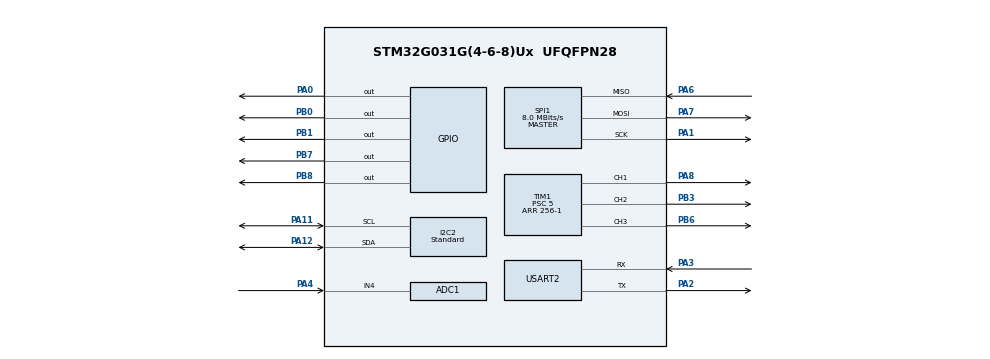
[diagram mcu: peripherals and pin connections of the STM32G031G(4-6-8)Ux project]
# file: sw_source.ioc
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ADC1.Channel-0\#ChannelRegularConversion=ADC_CHANNEL_4
ADC1.ExternalTrigConv=ADC_EXTERNALTRIG_T1_TRGO2
ADC1.LowPowerAutoWait=DISABLE
ADC1.NbrOfConversionFlag=1
ADC1.Rank-0\#ChannelRegularConversion=1
ADC1.SamplingTime-0\#ChannelRegularConversion=ADC_SAMPLINGTIME_COMMON_1
ADC1.SelectedChannel=ADC_CHANNEL_4
ADC1.master=1
Dma.ADC1.1.Direction=DMA_PERIPH_TO_MEMORY
Dma.ADC1.1.EventEnable=DISABLE
Dma.ADC1.1.Instance=DMA1_Channel3
Dma.ADC1.1.MemDataAlignment=DMA_MDATAALIGN_WORD
Dma.ADC1.1.MemInc=DMA_MINC_DISABLE
Dma.ADC1.1.Mode=DMA_NORMAL
Dma.ADC1.1.PeriphDataAlignment=DMA_PDATAALIGN_WORD
Dma.ADC1.1.PeriphInc=DMA_PINC_DISABLE
Dma.ADC1.1.Polarity=HAL_DMAMUX_REQ_GEN_RISING
Dma.ADC1.1.Priority=DMA_PRIORITY_VERY_HIGH
Dma.ADC1.1.RequestNumber=1
Dma.ADC1.1.SignalID=NONE
Dma.ADC1.1.SyncEnable=DISABLE
Dma.ADC1.1.SyncPolarity=HAL_DMAMUX_SYNC_NO_EVENT
Dma.ADC1.1.SyncRequestNumber=1
Dma.ADC1.1.SyncSignalID=NONE
Dma.Request0=USART2_TX
Dma.Request1=ADC1
Dma.USART2_TX.0.Direction=DMA_MEMORY_TO_PERIPH
Dma.USART2_TX.0.EventEnable=DISABLE
Dma.USART2_TX.0.Instance=DMA1_Channel2
Dma.USART2_TX.0.MemDataAlignment=DMA_MDATAALIGN_BYTE
Dma.USART2_TX.0.MemInc=DMA_MINC_ENABLE
Dma.USART2_TX.0.Mode=DMA_NORMAL
Dma.USART2_TX.0.PeriphDataAlignment=DMA_PDATAALIGN_BYTE
Dma.USART2_TX.0.PeriphInc=DMA_PINC_DISABLE
Dma.USART2_TX.0.Polarity=HAL_DMAMUX_REQ_GEN_RISING
Dma.USART2_TX.0.Priority=DMA_PRIORITY_VERY_HIGH
Dma.USART2_TX.0.RequestNumber=1
Dma.USART2_TX.0.SignalID=NONE
Dma.USART2_TX.0.SyncEnable=DISABLE
Dma.USART2_TX.0.SyncPolarity=HAL_DMAMUX_SYNC_NO_EVENT
Dma.USART2_TX.0.SyncRequestNumber=1
Dma.USART2_TX.0.SyncSignalID=NONE
I2C2.I2C_Speed_Mode=I2C_Standard
I2C2.Speed=10
I2C2.Timing=0xE010A9FF
Mcu.Family=STM32G0
Mcu.Name=STM32G031G(4-6-8)Ux
Mcu.Package=UFQFPN28
NVIC.DMA1_Channel2_3_IRQn=true\:0\:0\:false\:false\:true\:false\:true
NVIC.TIM14_IRQn=true\:0\:0\:false\:false\:true\:true\:true
NVIC.TIM3_IRQn=true\:1\:0\:true\:false\:true\:true\:true
NVIC.USART2_IRQn=true\:0\:0\:false\:false\:true\:true\:true
PA0.Signal=GPIO_Output
PA1.GPIO_Speed=GPIO_SPEED_FREQ_VERY_HIGH
PA1.Mode=Full_Duplex_Master
PA1.Signal=SPI1_SCK
PA11\ [PA9].Mode=I2C
PA11\ [PA9].Signal=I2C2_SCL
PA12\ [PA10].Mode=I2C
PA12\ [PA10].Signal=I2C2_SDA
PA13.Mode=Serial_Wire
PA13.Signal=SYS_SWDIO
PA14-BOOT0.Mode=Serial_Wire
PA14-BOOT0.Signal=SYS_SWCLK
PA2.Mode=Asynchronous
PA2.Signal=USART2_TX
PA3.Mode=Asynchronous
PA3.Signal=USART2_RX
PA4.Mode=IN4
PA4.Signal=ADC1_IN4
PA6.GPIO_Speed=GPIO_SPEED_FREQ_VERY_HIGH
PA6.Mode=Full_Duplex_Master
PA6.Signal=SPI1_MISO
PA7.GPIO_Speed=GPIO_SPEED_FREQ_VERY_HIGH
PA7.Mode=Full_Duplex_Master
PA7.Signal=SPI1_MOSI
PA8.Signal=S_TIM1_CH1
PB0.Signal=GPIO_Output
PB1.Signal=GPIO_Output
PB3.Signal=S_TIM1_CH2
PB6.Signal=S_TIM1_CH3
PB7.Signal=GPIO_Output
PB8.Signal=GPIO_Output
ProjectManager.HeapSize=0x800
ProjectManager.StackSize=0x800
ProjectManager.TargetToolchain=MDK-ARM V5.32
RCC.ADCFreq_Value=64000000
RCC.AHBFreq_Value=64000000
RCC.CortexFreq_Value=64000000
RCC.EXTERNAL_CLOCK_VALUE=12288000
RCC.HCLKFreq_Value=64000000
RCC.HSE_VALUE=8000000
RCC.HSI_VALUE=16000000
RCC.LSE_VALUE=32768
RCC.SYSCLKFreq_VALUE=64000000
RCC.SYSCLKSource=RCC_SYSCLKSOURCE_PLLCLK
RCC.VCOOutputFreq_Value=128000000
SH.S_TIM1_CH1.0=TIM1_CH1,PWM Generation1 CH1
SH.S_TIM1_CH2.0=TIM1_CH2,PWM Generation2 CH2
SH.S_TIM1_CH3.0=TIM1_CH3,PWM Generation3 CH3
SPI1.BaudRatePrescaler=SPI_BAUDRATEPRESCALER_8
SPI1.CLKPhase=SPI_PHASE_2EDGE
SPI1.CalculateBaudRate=8.0 MBits/s
SPI1.DataSize=SPI_DATASIZE_16BIT
SPI1.Direction=SPI_DIRECTION_2LINES
SPI1.Mode=SPI_MODE_MASTER
SPI1.VirtualType=VM_MASTER
TIM1.AutoReloadPreload=TIM_AUTORELOAD_PRELOAD_ENABLE
TIM1.Channel-PWM\ Generation1\ CH1=TIM_CHANNEL_1
TIM1.Channel-PWM\ Generation2\ CH2=TIM_CHANNEL_2
TIM1.Channel-PWM\ Generation3\ CH3=TIM_CHANNEL_3
TIM1.CounterMode=TIM_COUNTERMODE_CENTERALIGNED1
TIM1.Period=256-1
TIM1.Prescaler=5
TIM1.TIM_MasterOutputTrigger=TIM_TRGO_RESET
TIM1.TIM_MasterOutputTrigger2=TIM_TRGO2_OC1REF
TIM14.AutoReloadPreload=TIM_AUTORELOAD_PRELOAD_ENABLE
TIM14.Period=1000
TIM14.Prescaler=63
TIM3.AutoReloadPreload=TIM_AUTORELOAD_PRELOAD_ENABLE
TIM3.Period=100-1
TIM3.Prescaler=64
TIM3.TIM_MasterOutputTrigger=TIM_TRGO_UPDATE
USART2.DMADisableonRxErrorParam=ADVFEATURE_DMA_DISABLEONRXERROR
USART2.VirtualMode-Asynchronous=VM_ASYNC
VP_TIM14_VS_ClockSourceINT.Mode=Enable_Timer
VP_TIM1_VS_ClockSourceINT.Mode=Internal
VP_TIM3_VS_ClockSourceINT.Mode=Internal
board=custom

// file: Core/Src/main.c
/* USER CODE BEGIN Header */
/**
  ******************************************************************************
  * @file           : main.c
  * @brief          : Main program body
  ******************************************************************************
  * @attention
  *
  * <h2><center>&copy; Copyright (c) 2021 STMicroelectronics.
  * All rights reserved.</center></h2>
  *
  * This software component is licensed by ST under BSD 3-Clause license,
  * the "License"; You may not use this file except in compliance with the
  * License. You may obtain a copy of the License at:
  *                        opensource.org/licenses/BSD-3-Clause
  *
  ******************************************************************************
  */
/* USER CODE END Header */
#include "main.h"
#include "adc.h"
#include "dma.h"
#include "i2c.h"
#include "spi.h"
#include "tim.h"
#include "usart.h"
#include "gpio.h"

/* USER CODE BEGIN Includes */
#include "user_define.h"
#include "difficultyFoc.h"
#include "magneticSensor.h"
#include <stdio.h>
#include <stdarg.h>
#include <math.h>
#include "userTimer.h"
#include "user_serial.h"
#include "setupInf.h"

/* USER CODE END Includes */

void SystemClock_Config(void);
/* USER CODE BEGIN PFP */

extern serial_t serial;
extern motor_t motor;
extern magnetic_sensor_t tle5012;
extern setupinf_t setup;

/* USER CODE END PFP */

/* USER CODE BEGIN 0 */

int fputc(int c, FILE *stream)
{
	LL_USART_TransmitData8(USART2,c);
	while(!LL_USART_IsActiveFlag_TXE(USART2));
	return 1;
}

typedef struct pid_controller
{
	float p;
	float i;
	float d;

	float error_prev;
	float output_prev;
	float integral_prev;
	float output_rmap;
	uint64_t time_prve;

	float limit_up;
	float limit_down;
} pid_controller_t;

typedef struct FO_filter
{
	float lase;
	float alpha;
	float _alpha_n;
} FO_filter_t;

typedef struct system
{
	system_state_t state;

    float motor_p;
    float error;
    float target;

	float angle_now;
	float velocity_now;
	float elecangle_now;

	pid_controller_t velocity_pid;
	pid_controller_t angle_pid;
	pid_controller_t current_pid;

	float* used_parm;
	pid_controller_t* used_pid;

	//************************
	int8_t setupstate;

} system_t;

system_t sys;

#define DECLARE_FO_FILTER(name, alpha) FO_filter_t name = {0, alpha, (1 - alpha)}

DECLARE_FO_FILTER(angle_filter, 0.8f);
DECLARE_FO_FILTER(velocity_filter, 0.8f);

void initFOFilter(FO_filter_t *p, float alpha)
{
	p->lase = 0;
	p->alpha = alpha;
	p->_alpha_n = 1 - alpha;
}
float FOFilter(FO_filter_t *p, float data)
{
	p->lase = (data * p->alpha + (p->_alpha_n) * p->lase);
	return p->lase;
}

void PIDInit(pid_controller_t *parm)
{
	if (parm == NULL)
		return;
	parm->p = 1;
	parm->i = 0;
	parm->d = 0;

	parm->error_prev = 0;
	parm->output_prev = 0;
	parm->integral_prev = 0;

	parm->limit_up = FLT_MAX;
	parm->limit_down = FLT_MIN;
}

void PIDInitWithParm(pid_controller_t *parm, float _p, float _i, float _d,float _up, float _down, float _remap)
{
	if (parm == NULL)
		return;
	parm->p = _p;
	parm->i = _i;
	parm->d = _d;

	parm->limit_up = _up;
	parm->limit_down = _down;
	parm->output_rmap = _remap;

	parm->error_prev = 0;
	parm->output_prev = 0;
	parm->integral_prev = 0;
	parm->output_rmap = 0;
	parm->time_prve = sys_ticks.micros();
}

void PIDSetLimit(pid_controller_t *parm, float _up, float _down, float _remap)
{
	parm->limit_up = _up;
	parm->limit_down = _down;
	parm->output_rmap = _remap;
}

void PIDSetParm(pid_controller_t *parm, float _p, float _i, float _d)
{
	if (parm == NULL)
		return;

	parm->p = _p;
	parm->i = _i;
	parm->d = _d;
}

float PIDOperate(pid_controller_t *parm, float error)
{
	uint64_t time = sys_ticks.micros();
	float deltaTs = ( time - parm->time_prve ) * 1e-6;
	if(( deltaTs <= 0.0f )||( deltaTs > 0.5f )) deltaTs = 0.001;

	float proportional = parm->p * error;
	float integral = parm->integral_prev + parm->i * deltaTs * 0.5f *(error + parm->error_prev);
	integral = _CONSTRAIN(integral, parm->limit_down, parm->limit_up);

	float derivative = parm->d * (error - parm->error_prev) / deltaTs;
	float output = proportional + integral + derivative;

	output = _CONSTRAIN(output, parm->limit_down, parm->limit_up);

	if( parm->output_rmap > 0 )
	{
        float output_rate = (output - parm-> output_prev) / deltaTs;
        if (output_rate > parm->output_rmap)
            output = parm->output_prev + parm->output_rmap * deltaTs;
        else if (output_rate < -parm->output_rmap)
            output = parm->output_prev - parm->output_rmap * deltaTs;
	}

	parm->error_prev = error;
	parm->integral_prev = integral;
	parm->output_prev = output;
	parm->time_prve = time;

	return output;
}

uint32_t adc_val_dma[10];

void configADCDMA()
{
	LL_DMA_SetChannelPriorityLevel(DMA1, LL_DMA_CHANNEL_3, LL_DMA_PRIORITY_HIGH);
	LL_DMA_SetMemoryAddress(DMA1, LL_DMA_CHANNEL_3,(uint32_t)adc_val_dma);
	LL_DMA_SetPeriphAddress(DMA1, LL_DMA_CHANNEL_3,LL_ADC_DMA_GetRegAddr(ADC1,LL_ADC_DMA_REG_REGULAR_DATA));
	LL_DMA_SetDataLength(DMA1, LL_DMA_CHANNEL_3, 1);
	LL_DMA_EnableIT_TC(DMA1, LL_DMA_CHANNEL_3);
	LL_DMA_EnableChannel(DMA1, LL_DMA_CHANNEL_3);
	LL_ADC_REG_SetDMATransfer(ADC1, LL_ADC_REG_DMA_TRANSFER_UNLIMITED);

	LL_ADC_Enable(ADC1);
	while(LL_ADC_IsActiveFlag_ADRDY(ADC1) != SET);
	LL_ADC_REG_StartConversion(ADC1);
}

void readADC()
{
	//adc_val_dma[0] = HAL_ADC_GetValue(&hadc1);

	printf("adc value is %d \r\n", adc_val_dma[0]);
}

uint8_t inRangeF(float value, float down, float up)
{
	return ((value >= down) && (value <= up)) ? 1 : 0;
}

void sendMotorParm(float sensorAngle,float velocity,uint32_t current)
{
	volatile uint32_t sendbuff[3] = {
		*(uint32_t*)&sensorAngle,
		*(uint32_t*)&velocity,
		*(uint32_t*)&current,
	};
	serial.sendPack(0xff,0x11,sizeof(sendbuff),(void*)sendbuff);
}

void sendDebugMessage(const char *format, ...)
{
	char str_buff[256];
	va_list ap;
	va_start(ap,format);
	int length = vsprintf(str_buff,format,ap);
	serial.sendPack(0xff,0x31,length,(void*)str_buff);
	va_end(ap);
}

float parm2Angle(uint8_t *p)
{
	volatile uint8_t databuff_0[8];//0x20000CB4
	memcpy((uint8_t*)databuff_0,(uint8_t*)p,sizeof(uint8_t)*8);
	volatile int32_t circle = *(int32_t*)&databuff_0[0]; // 0x00000000
	volatile int32_t angle = *(int32_t*)&databuff_0[4];  // 0x200003CC
	volatile float anglef = *(float*)&angle;
	return (float)circle * _2PI + anglef;
}

float parm2Velocity(uint8_t *p)
{
	return *(float*)&p[0];
}

void serialReceive()
{
	if(serial.isAvailable() > 0 )
	{
		uint8_t flag = 0;
		uint8_t mode_change_flag = 0;
		uint8_t id = serial.revice_pack.id;
		switch( serial.revice_pack.cmd )
		{
			case CMD_SET_IDLE :
				sys.state = STATE_IDLE;
				sys.target = 0.0f;
				sys.used_pid = &sys.angle_pid;
				sys.used_parm = &sys.angle_now;
				mode_change_flag = 1;
				break;
			case CMD_SET_VELOCITY :
				sys.state = STATE_VELOCITY;
				sys.target = parm2Velocity(&serial.revice_pack.data[0]);
				sys.used_pid = &sys.velocity_pid;
				sys.used_parm = &sys.velocity_now;
				mode_change_flag = 1;
				break;
			case CMD_SET_ANGLE :
				sys.state = STATE_ANGLE;
				sys.target = parm2Angle(&serial.revice_pack.data[0]);
				sys.used_pid = &sys.angle_pid;
				sys.used_parm = &sys.angle_now;
				mode_change_flag = 1;
				break;
		}
		serial.sendPack(id,0x00,1,&flag);
		serial.clearRDFlag();

		if( mode_change_flag == 1 )
		{
			sys.error = 0.0f;
			sys.motor_p = 0.0f;
		}
	}
}

DECLARE_FO_FILTER(angle_LPF,0.9);
DECLARE_FO_FILTER(velocity_LPF,0.2);

void testEEPROM()
{
	uint8_t read_buff[10];
	HAL_I2C_Mem_Write(&hi2c2, 0x00a0, 0, I2C_MEMADD_SIZE_8BIT, "Fuck stc", 8, 100);
	HAL_Delay(10);
	memset(read_buff, '\0', sizeof(read_buff));
	HAL_I2C_Mem_Read(&hi2c2, 0x00a1, 0, I2C_MEMADD_SIZE_8BIT, read_buff, 8, 100);
	serial.printf("[FOC] Read from EEPROM is %s\r\n", read_buff);
}

/* USER CODE END 0 */

int main(void)
{

  /* MCU Configuration--------------------------------------------------------*/

  /* Reset of all peripherals, Initializes the Flash interface and the Systick. */
  HAL_Init();

  /* Configure the system clock */
  	SystemClock_Config();

  /* Initialize all configured peripherals */
	MX_GPIO_Init();
	MX_DMA_Init();
	MX_SPI1_Init();
	MX_TIM1_Init();
	MX_USART2_UART_Init();
	MX_TIM3_Init();
	MX_TIM14_Init();
	MX_ADC1_Init();
	MX_I2C2_Init();
  /* USER CODE BEGIN 2 */

	LL_GPIO_SetOutputPin(GPIOB,LL_GPIO_PIN_0);
	LL_GPIO_SetOutputPin(GPIOB,LL_GPIO_PIN_1);

	TIM1->CCR1 = 127;
	TIM1->CCR2 = 127;
	TIM1->CCR3 = 127;

	LL_TIM_CC_EnableChannel(TIM1,LL_TIM_CHANNEL_CH1);
	LL_TIM_CC_EnableChannel(TIM1,LL_TIM_CHANNEL_CH2);
	LL_TIM_CC_EnableChannel(TIM1,LL_TIM_CHANNEL_CH3);
    LL_TIM_EnableCounter(TIM1);
    LL_TIM_EnableAllOutputs(TIM1);

	LL_SPI_Enable(SPI1);
	initTicks(TIM14);

	LL_TIM_EnableIT_UPDATE(TIM14);
	LL_TIM_EnableCounter(TIM14);

	InitTransmission(USART2);
	initSetupInfo();
	initSensor(&tle5012);

	//configADCDMA();
	//testEEPROM();
	//HAL_ADC_Start(&hadc1);
	//HAL_ADC_Start_DMA(&hadc1, &adc_val_dma[0], 1);

	motor.voltage_dc = 12.0;
	motor.voltage_limit = 10.0;
	DifficultyFOCInit(&motor);

	PIDInitWithParm(&sys.velocity_pid, 	0.09f, 1.0f, 0.0f, 5.0f, -5.0f, 1000.0f);
	PIDInitWithParm(&sys.angle_pid, 	5.0f,  0.0f, 0.0f, 5.0f, -5.0f, 0.0f);
	PIDInitWithParm(&sys.current_pid, 	1.0f,  0.0f, 0.0f, 5.0f, -5.0f, 0.0f);

	LL_mDelay(100);

	sys.setupstate = setup.readFromE2prom();
	if( sys.setupstate != 0 )
	{
		if( sys.setupstate == -1 )
			serial.printf("[FOC] read eeprom fault\r\n");

		serial.printf("[FOC] Start time %lld\r\n", sys_ticks.micros());
		DiffcultyFOCAlignSendor(&motor, &tle5012);
		serial.printf("[FOC] End time %lld\r\n",sys_ticks.micros());
		if( sys.setupstate == -2 )
		{
			setup.data.zero_elec_angle = motor.zero_elec_angle;
			setup.writeToE2prom();
		}
	}
	else
	{
		serial.printf("[FOC] zero elec Angle = %.2f\r\n", _R2D(setup.data.zero_elec_angle));
		serial.printf("[FOC] zero offset %.2f\r\n", _R2D(setup.data.zero_offset));
		motor.zero_elec_angle = setup.data.zero_elec_angle;
		motor.sensor_dir = kSensorCW;

		tle5012.angle_offset = _D2R(60);
	}

	updataSensor(&tle5012);
	angle_LPF.lase = getAngle(&tle5012);
	velocity_LPF.lase = getVelocity(&tle5012);

	sys.error = 0.0f;
	sys.state = STATE_IDLE;
	sys.target = 0.0f;
	sys.motor_p = 0.0f;

	sys.angle_now = getAngle(&tle5012);
	sys.velocity_now = getVelocity(&tle5012);

	sys.used_pid = &sys.angle_pid;
	sys.used_parm = &sys.angle_now;

	sys.elecangle_now = getElectricaAngle(&motor, &tle5012);
	DifficultySeting(sys.motor_p, 0.0f, sys.elecangle_now, &motor);
	setTimerPWMVal(&motor);

	sendMotorParm(1.25f,2.54f,0.0f);
  /* USER CODE END 2 */

  /* Infinite loop */
	while (1)
	{

    /* USER CODE BEGIN 3 */
		updataSensor(&tle5012);

		sys.angle_now = FOFilter(&angle_LPF,getAngle(&tle5012));
		sys.velocity_now = FOFilter(&velocity_LPF,getVelocity(&tle5012));

		if( sys.state != STATE_IDLE )
		{
			sys.error = sys.target - *sys.used_parm;
			sys.motor_p = PIDOperate(sys.used_pid, sys.error);
			sys.elecangle_now = getElectricaAngle(&motor, &tle5012);
			DifficultySeting(sys.motor_p, 0.0f, sys.elecangle_now, &motor);
			setTimerPWMVal(&motor);
		}
		else
		{
			DifficultySeting(0.0f, 0.0f, sys.elecangle_now, &motor);
			setTimerPWMVal(&motor);
		}
		//getanglespeed(&tle5012);

		serialReceive();
		sendMotorParm(sys.angle_now,sys.velocity_now,tle5012.vel_sendor);

		/*
		velocity_error = ( velocity_target - velocity_af );
		motor_p = PIDOperate(&global_pid, velocity_error);
		motor_p = _CONSTRAIN(motor_p, -5.0f, 5.0f);
		electrical_angle = getElectricaAngle(&motor, &tle5012);
		DifficultySeting(motor_p, 0.0f, electrical_angle, &motor);
		setTimerPWMVal(&motor);
		*/
		//LL_mDelay(100);
	}
  /* USER CODE END 3 */
}

void SystemClock_Config(void)
{
  LL_FLASH_SetLatency(LL_FLASH_LATENCY_2);
  while(LL_FLASH_GetLatency() != LL_FLASH_LATENCY_2)
  {
  }

  /* HSI configuration and activation */
  LL_RCC_HSI_Enable();
  while(LL_RCC_HSI_IsReady() != 1)
  {
  }

  /* Main PLL configuration and activation */
  LL_RCC_PLL_ConfigDomain_SYS(LL_RCC_PLLSOURCE_HSI, LL_RCC_PLLM_DIV_1, 8, LL_RCC_PLLR_DIV_2);
  LL_RCC_PLL_Enable();
  LL_RCC_PLL_EnableDomain_SYS();
  while(LL_RCC_PLL_IsReady() != 1)
  {
  }

  /* Set AHB prescaler*/
  LL_RCC_SetAHBPrescaler(LL_RCC_SYSCLK_DIV_1);

  /* Sysclk activation on the main PLL */
  LL_RCC_SetSysClkSource(LL_RCC_SYS_CLKSOURCE_PLL);
  while(LL_RCC_GetSysClkSource() != LL_RCC_SYS_CLKSOURCE_STATUS_PLL)
  {
  }

  /* Set APB1 prescaler*/
  LL_RCC_SetAPB1Prescaler(LL_RCC_APB1_DIV_1);
  /* Update CMSIS variable (which can be updated also through SystemCoreClockUpdate function) */
  LL_SetSystemCoreClock(64000000);

   /* Update the time base */
  if (HAL_InitTick (TICK_INT_PRIORITY) != HAL_OK)
  {
    Error_Handler();
  }
}

/* USER CODE BEGIN 4 */

/*
void HAL_TIM_PeriodElapsedCallback(TIM_HandleTypeDef *htim)
{
	if (htim == &htim3)

	{
		//HAL_GPIO_TogglePin(GPIOB,GPIO_PIN_4);
		//angle++;
		//angle = angle % 360;
		//DifficultySeting(2.0,0.0,angle * _PI / 180,&motor);
		//setTimerPWMVal(&motor);
		//SetAngle(angle,100);
	}
	else if (htim == &htim14)
	{
		_sys.microscnt += 1000;
	}
}
*/
/* USER CODE END 4 */

void Error_Handler(void)
{
	__disable_irq();
	while (1)
	{
	}
}
